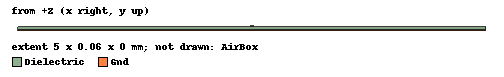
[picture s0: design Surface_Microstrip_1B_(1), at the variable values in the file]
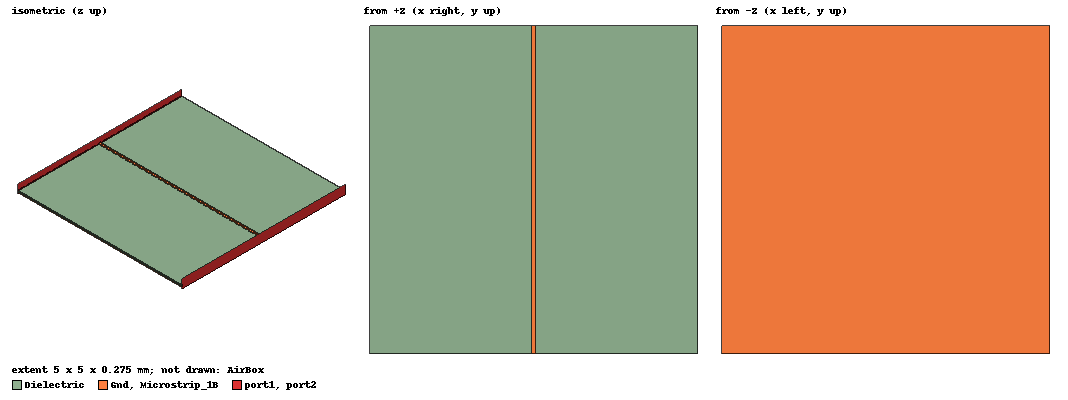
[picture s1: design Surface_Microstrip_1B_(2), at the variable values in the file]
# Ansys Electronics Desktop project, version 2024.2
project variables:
  $Er1 = 4
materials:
  vacuum: permittivity=1
  copper: permeability=0.999991 conductivity=58000000
  Substrate Dielectric 1: permittivity=$Er1 permeability=1.00001 dielectric_loss_tangent=0.085
  air: permittivity=1.0006 permeability=1.0000004

design Surface_Microstrip_1B_(1) (2D Extractor, Open, model units mm)
options: LumpedLength=1meter RiseTime=1ns DistribLengthUnits=meter Calculate_Lossy_Dielectrics
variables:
  H1 = 30um
  W1 = 50um
  W2 = 48um
  T1 = 15um
  subX = 5mm
  subY = 5mm
  subH = 0.03mm
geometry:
  Gnd [copper] = polyline((0mm, 0mm, 0mm) (0mm, -T1, 0mm), section line width=subX)
  Dielectric [Substrate Dielectric 1] = polyline((0mm, 0mm, 0mm) (0mm, H1, 0mm), section line width=subX)
  AirBox [air] = polyline((0mm, -T1-(subY/100), 0mm) (0mm, 5*(H1+T1), 0mm), section line width=subX)
  Microstrip_1B [copper] = polyline(z=0mm, xy: (-(W1)/2, H1) ((W1)/2, H1) ((W2)/2, H1+T1) (-(W2)/2, H1+T1) (-(W1)/2, H1), closed, covered)

design Surface_Microstrip_1B_(2) (HFSS, HFSS Hybrid Terminal Network, model units mm)
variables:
  subX = 5mm
  T1 = 15um
  H1 = 30um
  subY = 5mm
  W2 = 48um
  W1 = 50um
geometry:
  Gnd [copper] = polyline((0mm, 0mm, 0mm) (0mm, -T1, 0mm), section line width=subX)
  Dielectric [Substrate Dielectric 1] = polyline((0mm, 0mm, 0mm) (0mm, H1, 0mm), section line width=subX)
  AirBox [air] = polyline((0mm, -T1-(subY/100), 0mm) (0mm, 5*(H1+T1), 0mm), section line width=subX)
  Microstrip_1B [copper] = polyline(z=0mm, xy: (-(W1)/2, H1) ((W1)/2, H1) ((W2)/2, H1+T1) (-(W2)/2, H1+T1) (-(W1)/2, H1), closed, covered)
  [Gnd, Dielectric, AirBox, Microstrip_1B].rotate(axis=X, angle=90deg)
  [Gnd, Dielectric, AirBox].thicken(subY)
  Microstrip_1B.thicken(-subY)
  port1 = rectangle(corner=(-(subX)/2, 0, -T1-(subY/100)), z_size=5*(H1+T1)+(subY/100), x_size=subX)
  port2 = rectangle(corner=(-(subX)/2, subY, -T1-(subY/100)), z_size=5*(H1+T1)+(subY/100), x_size=subX)
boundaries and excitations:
  Rad1: Radiation Objects=AirBox
  Microstrip_1B_T1: Terminal port=1 Faces=Microstrip_1B.face(at (0, 0, 0.0375)) TerminalResistance=50ohm
  Microstrip_1B_T2: Terminal port=2 Faces=Microstrip_1B.face(at (0, 5, 0.0375)) TerminalResistance=50ohm
  1: Wave Port Faces=port1.face WavePortType=Terminal NumModes=1
  2: Wave Port Faces=port2.face WavePortType=Terminal NumModes=1
  reference conductors: Gnd
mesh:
  Length1: LengthBased Objects=Microstrip_1B MaxLength=0.1mm
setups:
  Setup1: HfssDriven Frequency=4GHz MaxDeltaS=0.01 MaximumPasses=30 MinimumPasses=1 MinimumConvergedPasses=1 PercentRefinement=30 BasisOrder=1 PortAccuracy=2 DrivenSolverType="Direct Solver"
    sweep Sweep: 0Hz to 1Hz, 1 points; 1Hz to 100MHz, log, 20 per decade; 100MHz to 1GHz step 10MHz; 1GHz to 16GHz step 10MHz; Type=Interpolating SaveFields SaveRadFields InterpTolerance=0.5 InterpMaxSolns=250 MinSolvedFreq=0.01GHz PassivityErrorTolerance=0.0001
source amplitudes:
  1:1: 1V 0deg
  2:1: 0V 0deg
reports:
  Terminal S Parameter Plot 1: dB(St(Microstrip_1B_T1,Microstrip_1B_T1)), dB(St(Microstrip_1B_T2,Microstrip_1B_T1)) vs Freq on Setup1 : Sweep
  Terminal TDR Impedance Plot 2: TDRZt(Microstrip_1B_T1) vs Time on Setup1 : Sweep
